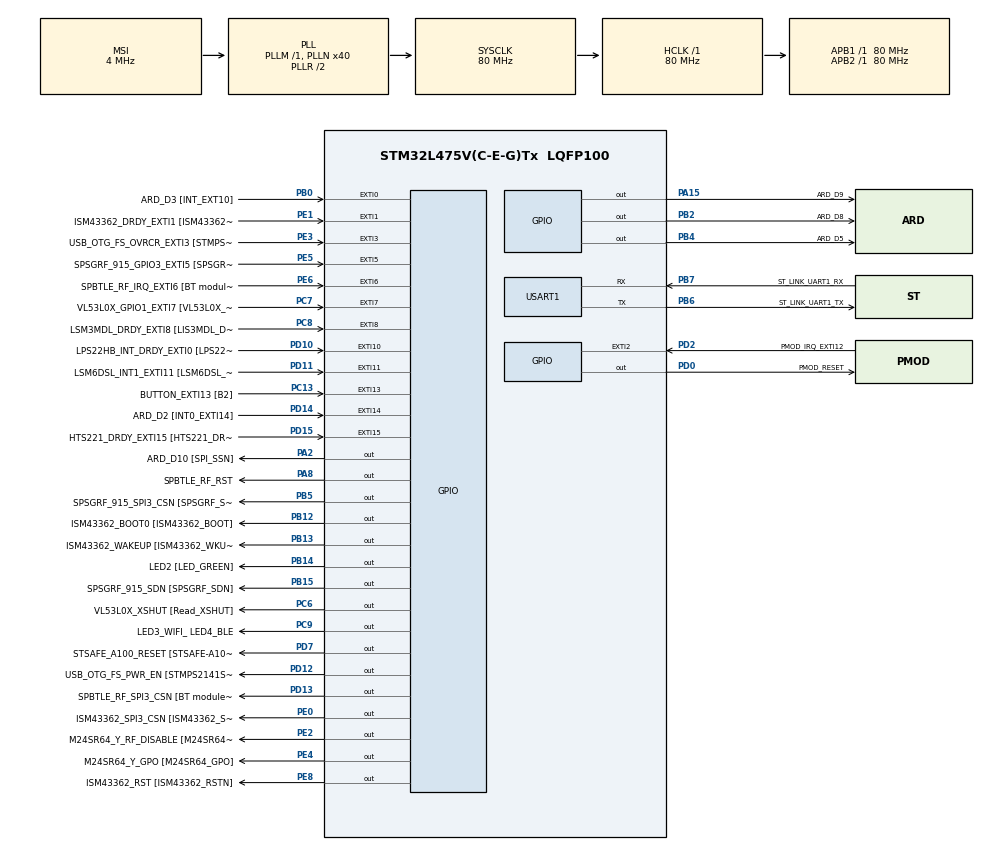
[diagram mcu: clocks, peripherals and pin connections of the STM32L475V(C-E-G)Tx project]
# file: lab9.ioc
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FREERTOS.Tasks01=Thread1,0,128,Thread1Func,Default,NULL,Dynamic,NULL,NULL;Thread2,1,128,Thread2Func,Default,NULL,Dynamic,NULL,NULL
Mcu.Family=STM32L4
Mcu.Name=STM32L475V(C-E-G)Tx
Mcu.Package=LQFP100
NVIC.EXTI15_10_IRQn=true\:5\:0\:false\:false\:true\:true\:true\:true
NVIC.EXTI9_5_IRQn=true\:5\:0\:false\:false\:true\:true\:true\:true
NVIC.PriorityGroup=NVIC_PRIORITYGROUP_4
PA0.GPIO_Label=ARD_D1 [UART4_TX]
PA0.Signal=UART4_TX
PA1.GPIO_Label=ARD_D0 [UART4_RX]
PA1.Signal=UART4_RX
PA10.GPIO_Label=USB_OTG_FS_ID
PA10.Signal=USB_OTG_FS_ID
PA11.GPIO_Label=USB_OTG_FS_DM
PA11.Signal=USB_OTG_FS_DM
PA12.GPIO_Label=USB_OTG_FS_DP
PA12.Signal=USB_OTG_FS_DP
PA13\ (JTMS-SWDIO).GPIO_Label=SYS_JTMS_SWDIO
PA13\ (JTMS-SWDIO).Mode=Serial_Wire
PA13\ (JTMS-SWDIO).Signal=SYS_JTMS-SWDIO
PA14\ (JTCK-SWCLK).GPIO_Label=SYS_JTCK_SWCLK
PA14\ (JTCK-SWCLK).Mode=Serial_Wire
PA14\ (JTCK-SWCLK).Signal=SYS_JTCK-SWCLK
PA15\ (JTDI).GPIO_Label=ARD_D9
PA15\ (JTDI).Signal=GPIO_Output
PA2.GPIO_Label=ARD_D10 [SPI_SSN]
PA2.Signal=GPIO_Output
PA3.GPIO_Label=ARD_D4
PA3.Signal=S_TIM2_CH4
PA4.GPIO_Label=ARD_D7
PA4.Signal=ADCx_IN9
PA5.GPIO_Label=ARD_D13 [SPI1_SCK]
PA5.Signal=SPI1_SCK
PA6.GPIO_Label=ARD_D12 [SPI1_MISO]
PA6.Signal=SPI1_MISO
PA7.GPIO_Label=ARD_D11 [SPI1_MOSI]
PA7.Signal=SPI1_MOSI
PA8.GPIO_Label=SPBTLE_RF_RST
PA8.Signal=GPIO_Output
PA9.GPIO_Label=USB_OTG_FS_VBUS [STMPS2141STR_OUT]
PA9.Signal=USB_OTG_FS_VBUS
PB0.GPIO_Label=ARD_D3 [INT_EXT10]
PB0.Signal=GPXTI0
PB1.GPIO_Label=ARD_D6 [ADC1_IN6]
PB1.Signal=ADCx_IN16
PB10.GPIO_Label=INTERNAL_I2C2_SCL [VL53L0X_SCL]
PB10.Signal=I2C2_SCL
PB11.GPIO_Label=INTERNAL_I2C2_SDA [VL53L0X_SDA]
PB11.Signal=I2C2_SDA
PB12.GPIO_Label=ISM43362_BOOT0 [ISM43362_BOOT]
PB12.Signal=GPIO_Output
PB13.GPIO_Label=ISM43362_WAKEUP [ISM43362_WKUP]
PB13.Signal=GPIO_Output
PB14.GPIO_Label=LED2 [LED_GREEN]
PB14.Signal=GPIO_Output
PB15.GPIO_Label=SPSGRF_915_SDN [SPSGRF_SDN]
PB15.Signal=GPIO_Output
PB2.GPIO_Label=ARD_D8
PB2.Signal=GPIO_Output
PB3\ (JTDO-TRACESWO).GPIO_Label=SYS_JTD0_SWO
PB3\ (JTDO-TRACESWO).Signal=SYS_JTDO-SWO
PB4\ (NJTRST).GPIO_Label=ARD_D5
PB4\ (NJTRST).Signal=GPIO_Output
PB5.GPIO_Label=SPSGRF_915_SPI3_CSN [SPSGRF_SPI_CS]
PB5.PinState=GPIO_PIN_SET
PB5.Signal=GPIO_Output
PB6.GPIO_Label=ST_LINK_UART1_TX
PB6.Mode=Asynchronous
PB6.Signal=USART1_TX
PB7.GPIO_Label=ST_LINK_UART1_RX
PB7.Mode=Asynchronous
PB7.Signal=USART1_RX
PB8.GPIO_Label=ARD_D15 [I2C1_SCL]
PB8.Signal=I2C1_SCL
PB9.GPIO_Label=ARD_D14 [I2C1_SDA]
PB9.Signal=I2C1_SDA
PC0.GPIO_Label=ARD_A5 [ADC]
PC0.Signal=ADCx_IN1
PC1.GPIO_Label=ARD_A4 [ADC]
PC1.Signal=ADCx_IN2
PC10.GPIO_Label=INTERNAL_SPI3_SCK [BT module_SPI_SCLK] [ISM43362_SCK]
PC10.Signal=SPI3_SCK
PC11.GPIO_Label=INTERNAL_SPI3_MISO [BT module_SPI_MISO] [ISM43362_MISO]
PC11.Signal=SPI3_MISO
PC12.GPIO_Label=INTERNAL_SPI3_MOSI [BT module_SPI_MOSI] [ISM43362_MOSI]
PC12.Signal=SPI3_MOSI
PC13.GPIO_Label=BUTTON_EXTI13 [B2]
PC13.GPIO_ModeDefaultEXTI=GPIO_MODE_IT_FALLING
PC13.Signal=GPXTI13
PC14-OSC32_IN\ (PC14).Signal=RCC_OSC32_IN
PC15-OSC32_OUT\ (PC15).Signal=RCC_OSC32_OUT
PC2.GPIO_Label=ARD_A3 [ADC]
PC2.Signal=ADCx_IN3
PC3.GPIO_Label=ARD_A2 [ADC]
PC3.Signal=ADCx_IN4
PC4.GPIO_Label=ARD_A1 [ADC]
PC4.Signal=ADCx_IN13
PC5.GPIO_Label=ARD_A0 [ADC]
PC5.Signal=ADCx_IN14
PC6.GPIO_Label=VL53L0X_XSHUT [Read_XSHUT]
PC6.Signal=GPIO_Output
PC7.GPIO_Label=VL53L0X_GPIO1_EXTI7 [VL53L0X_GPIO1]
PC7.Signal=GPXTI7
PC8.GPIO_Label=LSM3MDL_DRDY_EXTI8 [LIS3MDL_DRDY]
PC8.Signal=GPXTI8
PC9.GPIO_Label=LED3_WIFI_ LED4_BLE
PC9.Signal=GPIO_Output
PD0.GPIO_Label=PMOD_RESET
PD0.Signal=GPIO_Output
PD1.GPIO_Label=PMOD_SPI2_SCK
PD1.Signal=SPI2_SCK
PD10.GPIO_Label=LPS22HB_INT_DRDY_EXTI0 [LPS22HB_INT_DRDY] 
PD10.Signal=GPXTI10
PD11.GPIO_Label=LSM6DSL_INT1_EXTI11 [LSM6DSL_INT1]
PD11.Signal=GPXTI11
PD12.GPIO_Label=USB_OTG_FS_PWR_EN [STMPS2141STR_EN]
PD12.Signal=GPIO_Output
PD13.GPIO_Label=SPBTLE_RF_SPI3_CSN [BT module_SPI_CS]
PD13.PinState=GPIO_PIN_SET
PD13.Signal=GPIO_Output
PD14.GPIO_Label=ARD_D2 [INT0_EXTI14]
PD14.Signal=GPXTI14
PD15.GPIO_Label=HTS221_DRDY_EXTI15 [HTS221_DRDY]
PD15.Signal=GPXTI15
PD2.GPIO_Label=PMOD_IRQ_EXTI12
PD2.Signal=GPXTI2
PD3.GPIO_Label=PMOD_UART2_CTS
PD3.Signal=USART2_CTS
PD4.GPIO_Label=PMOD_UART2_RTS
PD4.Signal=USART2_RTS
PD5.GPIO_Label=PMOD_UART2_TX
PD5.Signal=USART2_TX
PD6.GPIO_Label=PMOD_UART2_RX
PD6.Signal=USART2_RX
PD7.GPIO_Label=STSAFE_A100_RESET [STSAFE-A100_RESET]
PD7.Signal=GPIO_Output
PD8.GPIO_Label=INTERNAL_UART3_TX [ISM43362_RX]
PD8.Signal=USART3_TX
PD9.GPIO_Label=INTERNAL_UART3_RX [ISM43362_TX]
PD9.Signal=USART3_RX
PE0.GPIO_Label=ISM43362_SPI3_CSN [ISM43362_SSN]
PE0.PinState=GPIO_PIN_SET
PE0.Signal=GPIO_Output
PE1.GPIO_Label=ISM43362_DRDY_EXTI1 [ISM43362_DATARDY]
PE1.Signal=GPXTI1
PE10.GPIO_Label=QUADSPI_CLK [MX25R6435F_SCLK]
PE10.Signal=QUADSPI_CLK
PE11.GPIO_Label=QUADSPI_NCS [MX25R6435F_SCLK]
PE11.Signal=QUADSPI_NCS
PE12.GPIO_Label=OQUADSPI_BK1_IO0 [MX25R6435F_IO0]
PE12.Signal=QUADSPI_BK1_IO0
PE13.GPIO_Label=QUADSPI_BK1_IO1 [MX25R6435F_IO1]
PE13.Signal=QUADSPI_BK1_IO1
PE14.GPIO_Label=QUAD_SPI_BK1_IO2 [MX25R6435F_IO2]
PE14.Signal=QUADSPI_BK1_IO2
PE15.GPIO_Label=QUAD_SPI_BK1_IO3 [MX25R6435F_IO3]
PE15.Signal=QUADSPI_BK1_IO3
PE2.GPIO_Label=M24SR64_Y_RF_DISABLE [M24SR64_RFDIS]
PE2.Signal=GPIO_Output
PE3.GPIO_Label=USB_OTG_FS_OVRCR_EXTI3 [STMPS2141STR_FAULT]
PE3.Signal=GPXTI3
PE4.GPIO_Label=M24SR64_Y_GPO [M24SR64_GPO]
PE4.Signal=GPIO_Output
PE5.GPIO_Label=SPSGRF_915_GPIO3_EXTI5 [SPSGRF_GPIO_3]
PE5.Signal=GPXTI5
PE6.GPIO_Label=SPBTLE_RF_IRQ_EXTI6 [BT module_SPI_IRQ]
PE6.Signal=GPXTI6
PE7.GPIO_Label=DFSDM1_DATIN2 [MP34DT01_DOUT]
PE7.Signal=S_DATAIN2DFSDM1
PE8.GPIO_Label=ISM43362_RST [ISM43362_RSTN]
PE8.Signal=GPIO_Output
PE9.GPIO_Label=DFSDM1_CKOUT [MP34DT01_CLK]
PE9.Signal=S_CKOUTDFSDM1
ProjectManager.HeapSize=0x200
ProjectManager.StackSize=0x400
ProjectManager.TargetToolchain=MDK-ARM V5.27
RCC.ADCFreq_Value=48000000
RCC.AHBFreq_Value=80000000
RCC.APB1Freq_Value=80000000
RCC.APB1TimFreq_Value=80000000
RCC.APB2Freq_Value=80000000
RCC.APB2TimFreq_Value=80000000
RCC.CortexFreq_Value=80000000
RCC.HCLKFreq_Value=80000000
RCC.HSE_VALUE=8000000
RCC.HSI_VALUE=16000000
RCC.LSE_VALUE=32768
RCC.MSI_VALUE=4000000
RCC.PLLN=40
RCC.PLLSAI1N=24
RCC.SYSCLKFreq_VALUE=80000000
RCC.SYSCLKSource=RCC_SYSCLKSOURCE_PLLCLK
RCC.USBFreq_Value=48000000
RCC.VCOOutputFreq_Value=160000000
SH.ADCx_IN1.0=ADC1_IN1
SH.ADCx_IN13.0=ADC1_IN13
SH.ADCx_IN14.0=ADC1_IN14
SH.ADCx_IN16.0=ADC1_IN16
SH.ADCx_IN2.0=ADC1_IN2
SH.ADCx_IN3.0=ADC1_IN3
SH.ADCx_IN4.0=ADC1_IN4
SH.ADCx_IN9.0=ADC1_IN9
SH.S_CKOUTDFSDM1.0=DFSDM1_CKOUT
SH.S_DATAIN2DFSDM1.0=DFSDM1_DATIN2
SH.S_TIM2_CH4.0=TIM2_CH4
USART1.VirtualMode-Asynchronous=VM_ASYNC
VP_FREERTOS_VS_CMSIS_V1.Mode=CMSIS_V1
board=B-L475E-IOT01A1

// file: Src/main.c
/* USER CODE BEGIN Header */
/**
  ******************************************************************************
  * @file           : main.c
  * @brief          : Main program body
  ******************************************************************************
  * @attention
  *
  * <h2><center>&copy; Copyright (c) 2020 STMicroelectronics.
  * All rights reserved.</center></h2>
  *
  * This software component is licensed by ST under Ultimate Liberty license
  * SLA0044, the "License"; You may not use this file except in compliance with
  * the License. You may obtain a copy of the License at:
  *                             www.st.com/SLA0044
  *
  ******************************************************************************
  */
/* USER CODE END Header */

#include "main.h"
#include "cmsis_os.h"

/* USER CODE BEGIN Includes */
#include "stdio.h"
/* USER CODE END Includes */

UART_HandleTypeDef huart1;

osThreadId Thread1Handle;
osThreadId Thread2Handle;

void SystemClock_Config(void);
static void MX_GPIO_Init(void);
static void MX_USART1_UART_Init(void);
void Thread1Func(void const * argument);
void Thread2Func(void const * argument);

/* USER CODE BEGIN PFP */
#ifdef __GNUC__
#define PUTCHAR_PROTOTYPE int __io_putchar(int ch)
#else
#define PUTCHAR_PROTOTYPE int fputc(int ch, FILE *f)
#endif /* __GNUC__ */
/* USER CODE END PFP */

/* USER CODE BEGIN 0 */
PUTCHAR_PROTOTYPE
{
  /* e.g. write a character to the USART1 and Loop until the end of transmission */
  HAL_UART_Transmit(&huart1, (uint8_t *)&ch, 1, 0xFFFF);

  return ch;
}
/* USER CODE END 0 */

int main(void)
{

  /* MCU Configuration--------------------------------------------------------*/

  /* Reset of all peripherals, Initializes the Flash interface and the Systick. */
  HAL_Init();

  /* Configure the system clock */
  SystemClock_Config();

  /* Initialize all configured peripherals */
  MX_GPIO_Init();
  MX_USART1_UART_Init();
  /* USER CODE BEGIN 2 */
	printf("\n\rFreeRTOS Lab 9\n\r");
  /* USER CODE END 2 */

  /* Create the thread(s) */
  /* definition and creation of Thread1 */
  osThreadDef(Thread1, Thread1Func, osPriorityNormal, 0, 128);
  Thread1Handle = osThreadCreate(osThread(Thread1), NULL);

  /* Start scheduler */
  osKernelStart();

  /* We should never get here as control is now taken by the scheduler */

  /* Infinite loop */
  while (1)
  {

  }
}

void SystemClock_Config(void)
{
  RCC_OscInitTypeDef RCC_OscInitStruct = {0};
  RCC_ClkInitTypeDef RCC_ClkInitStruct = {0};
  RCC_PeriphCLKInitTypeDef PeriphClkInit = {0};

  /** Initializes the CPU, AHB and APB busses clocks
  */
  RCC_OscInitStruct.OscillatorType = RCC_OSCILLATORTYPE_MSI;
  RCC_OscInitStruct.MSIState = RCC_MSI_ON;
  RCC_OscInitStruct.MSICalibrationValue = 0;
  RCC_OscInitStruct.MSIClockRange = RCC_MSIRANGE_6;
  RCC_OscInitStruct.PLL.PLLState = RCC_PLL_ON;
  RCC_OscInitStruct.PLL.PLLSource = RCC_PLLSOURCE_MSI;
  RCC_OscInitStruct.PLL.PLLM = 1;
  RCC_OscInitStruct.PLL.PLLN = 40;
  RCC_OscInitStruct.PLL.PLLP = RCC_PLLP_DIV7;
  RCC_OscInitStruct.PLL.PLLQ = RCC_PLLQ_DIV2;
  RCC_OscInitStruct.PLL.PLLR = RCC_PLLR_DIV2;
  if (HAL_RCC_OscConfig(&RCC_OscInitStruct) != HAL_OK)
  {
    Error_Handler();
  }
  /** Initializes the CPU, AHB and APB busses clocks
  */
  RCC_ClkInitStruct.ClockType = RCC_CLOCKTYPE_HCLK|RCC_CLOCKTYPE_SYSCLK
                              |RCC_CLOCKTYPE_PCLK1|RCC_CLOCKTYPE_PCLK2;
  RCC_ClkInitStruct.SYSCLKSource = RCC_SYSCLKSOURCE_PLLCLK;
  RCC_ClkInitStruct.AHBCLKDivider = RCC_SYSCLK_DIV1;
  RCC_ClkInitStruct.APB1CLKDivider = RCC_HCLK_DIV1;
  RCC_ClkInitStruct.APB2CLKDivider = RCC_HCLK_DIV1;

  if (HAL_RCC_ClockConfig(&RCC_ClkInitStruct, FLASH_LATENCY_4) != HAL_OK)
  {
    Error_Handler();
  }
  PeriphClkInit.PeriphClockSelection = RCC_PERIPHCLK_USART1;
  PeriphClkInit.Usart1ClockSelection = RCC_USART1CLKSOURCE_PCLK2;
  if (HAL_RCCEx_PeriphCLKConfig(&PeriphClkInit) != HAL_OK)
  {
    Error_Handler();
  }
  /** Configure the main internal regulator output voltage
  */
  if (HAL_PWREx_ControlVoltageScaling(PWR_REGULATOR_VOLTAGE_SCALE1) != HAL_OK)
  {
    Error_Handler();
  }
}

static void MX_USART1_UART_Init(void)
{

  huart1.Instance = USART1;
  huart1.Init.BaudRate = 115200;
  huart1.Init.WordLength = UART_WORDLENGTH_8B;
  huart1.Init.StopBits = UART_STOPBITS_1;
  huart1.Init.Parity = UART_PARITY_NONE;
  huart1.Init.Mode = UART_MODE_TX_RX;
  huart1.Init.HwFlowCtl = UART_HWCONTROL_NONE;
  huart1.Init.OverSampling = UART_OVERSAMPLING_16;
  huart1.Init.OneBitSampling = UART_ONE_BIT_SAMPLE_DISABLE;
  huart1.AdvancedInit.AdvFeatureInit = UART_ADVFEATURE_NO_INIT;
  if (HAL_UART_Init(&huart1) != HAL_OK)
  {
    Error_Handler();
  }

}

static void MX_GPIO_Init(void)
{
  GPIO_InitTypeDef GPIO_InitStruct = {0};

  /* GPIO Ports Clock Enable */
  __HAL_RCC_GPIOE_CLK_ENABLE();
  __HAL_RCC_GPIOC_CLK_ENABLE();
  __HAL_RCC_GPIOH_CLK_ENABLE();
  __HAL_RCC_GPIOA_CLK_ENABLE();
  __HAL_RCC_GPIOB_CLK_ENABLE();
  __HAL_RCC_GPIOD_CLK_ENABLE();

  /*Configure GPIO pin Output Level */
  HAL_GPIO_WritePin(GPIOE, M24SR64_Y_RF_DISABLE_Pin|M24SR64_Y_GPO_Pin|ISM43362_RST_Pin, GPIO_PIN_RESET);

  /*Configure GPIO pin Output Level */
  HAL_GPIO_WritePin(GPIOA, ARD_D10_Pin|SPBTLE_RF_RST_Pin|ARD_D9_Pin, GPIO_PIN_RESET);

  /*Configure GPIO pin Output Level */
  HAL_GPIO_WritePin(GPIOB, ARD_D8_Pin|ISM43362_BOOT0_Pin|ISM43362_WAKEUP_Pin|LED2_Pin
                          |SPSGRF_915_SDN_Pin|ARD_D5_Pin, GPIO_PIN_RESET);

  /*Configure GPIO pin Output Level */
  HAL_GPIO_WritePin(GPIOD, USB_OTG_FS_PWR_EN_Pin|PMOD_RESET_Pin|STSAFE_A100_RESET_Pin, GPIO_PIN_RESET);

  /*Configure GPIO pin Output Level */
  HAL_GPIO_WritePin(SPBTLE_RF_SPI3_CSN_GPIO_Port, SPBTLE_RF_SPI3_CSN_Pin, GPIO_PIN_SET);

  /*Configure GPIO pin Output Level */
  HAL_GPIO_WritePin(GPIOC, VL53L0X_XSHUT_Pin|LED3_WIFI__LED4_BLE_Pin, GPIO_PIN_RESET);

  /*Configure GPIO pin Output Level */
  HAL_GPIO_WritePin(SPSGRF_915_SPI3_CSN_GPIO_Port, SPSGRF_915_SPI3_CSN_Pin, GPIO_PIN_SET);

  /*Configure GPIO pin Output Level */
  HAL_GPIO_WritePin(ISM43362_SPI3_CSN_GPIO_Port, ISM43362_SPI3_CSN_Pin, GPIO_PIN_SET);

  /*Configure GPIO pins : M24SR64_Y_RF_DISABLE_Pin M24SR64_Y_GPO_Pin ISM43362_RST_Pin ISM43362_SPI3_CSN_Pin */
  GPIO_InitStruct.Pin = M24SR64_Y_RF_DISABLE_Pin|M24SR64_Y_GPO_Pin|ISM43362_RST_Pin|ISM43362_SPI3_CSN_Pin;
  GPIO_InitStruct.Mode = GPIO_MODE_OUTPUT_PP;
  GPIO_InitStruct.Pull = GPIO_NOPULL;
  GPIO_InitStruct.Speed = GPIO_SPEED_FREQ_LOW;
  HAL_GPIO_Init(GPIOE, &GPIO_InitStruct);

  /*Configure GPIO pins : USB_OTG_FS_OVRCR_EXTI3_Pin SPSGRF_915_GPIO3_EXTI5_Pin SPBTLE_RF_IRQ_EXTI6_Pin ISM43362_DRDY_EXTI1_Pin */
  GPIO_InitStruct.Pin = USB_OTG_FS_OVRCR_EXTI3_Pin|SPSGRF_915_GPIO3_EXTI5_Pin|SPBTLE_RF_IRQ_EXTI6_Pin|ISM43362_DRDY_EXTI1_Pin;
  GPIO_InitStruct.Mode = GPIO_MODE_IT_RISING;
  GPIO_InitStruct.Pull = GPIO_NOPULL;
  HAL_GPIO_Init(GPIOE, &GPIO_InitStruct);

  /*Configure GPIO pin : BUTTON_EXTI13_Pin */
  GPIO_InitStruct.Pin = BUTTON_EXTI13_Pin;
  GPIO_InitStruct.Mode = GPIO_MODE_IT_FALLING;
  GPIO_InitStruct.Pull = GPIO_NOPULL;
  HAL_GPIO_Init(BUTTON_EXTI13_GPIO_Port, &GPIO_InitStruct);

  /*Configure GPIO pins : PH0 PH1 */
  GPIO_InitStruct.Pin = GPIO_PIN_0|GPIO_PIN_1;
  GPIO_InitStruct.Mode = GPIO_MODE_ANALOG;
  GPIO_InitStruct.Pull = GPIO_NOPULL;
  HAL_GPIO_Init(GPIOH, &GPIO_InitStruct);

  /*Configure GPIO pins : ARD_A5_Pin ARD_A4_Pin ARD_A3_Pin ARD_A2_Pin
                           ARD_A1_Pin ARD_A0_Pin */
  GPIO_InitStruct.Pin = ARD_A5_Pin|ARD_A4_Pin|ARD_A3_Pin|ARD_A2_Pin
                          |ARD_A1_Pin|ARD_A0_Pin;
  GPIO_InitStruct.Mode = GPIO_MODE_ANALOG_ADC_CONTROL;
  GPIO_InitStruct.Pull = GPIO_NOPULL;
  HAL_GPIO_Init(GPIOC, &GPIO_InitStruct);

  /*Configure GPIO pins : ARD_D1_Pin ARD_D0_Pin */
  GPIO_InitStruct.Pin = ARD_D1_Pin|ARD_D0_Pin;
  GPIO_InitStruct.Mode = GPIO_MODE_AF_PP;
  GPIO_InitStruct.Pull = GPIO_NOPULL;
  GPIO_InitStruct.Speed = GPIO_SPEED_FREQ_VERY_HIGH;
  GPIO_InitStruct.Alternate = GPIO_AF8_UART4;
  HAL_GPIO_Init(GPIOA, &GPIO_InitStruct);

  /*Configure GPIO pins : ARD_D10_Pin SPBTLE_RF_RST_Pin ARD_D9_Pin */
  GPIO_InitStruct.Pin = ARD_D10_Pin|SPBTLE_RF_RST_Pin|ARD_D9_Pin;
  GPIO_InitStruct.Mode = GPIO_MODE_OUTPUT_PP;
  GPIO_InitStruct.Pull = GPIO_NOPULL;
  GPIO_InitStruct.Speed = GPIO_SPEED_FREQ_LOW;
  HAL_GPIO_Init(GPIOA, &GPIO_InitStruct);

  /*Configure GPIO pin : ARD_D4_Pin */
  GPIO_InitStruct.Pin = ARD_D4_Pin;
  GPIO_InitStruct.Mode = GPIO_MODE_AF_PP;
  GPIO_InitStruct.Pull = GPIO_NOPULL;
  GPIO_InitStruct.Speed = GPIO_SPEED_FREQ_LOW;
  GPIO_InitStruct.Alternate = GPIO_AF1_TIM2;
  HAL_GPIO_Init(ARD_D4_GPIO_Port, &GPIO_InitStruct);

  /*Configure GPIO pin : ARD_D7_Pin */
  GPIO_InitStruct.Pin = ARD_D7_Pin;
  GPIO_InitStruct.Mode = GPIO_MODE_ANALOG_ADC_CONTROL;
  GPIO_InitStruct.Pull = GPIO_NOPULL;
  HAL_GPIO_Init(ARD_D7_GPIO_Port, &GPIO_InitStruct);

  /*Configure GPIO pins : ARD_D13_Pin ARD_D12_Pin ARD_D11_Pin */
  GPIO_InitStruct.Pin = ARD_D13_Pin|ARD_D12_Pin|ARD_D11_Pin;
  GPIO_InitStruct.Mode = GPIO_MODE_AF_PP;
  GPIO_InitStruct.Pull = GPIO_NOPULL;
  GPIO_InitStruct.Speed = GPIO_SPEED_FREQ_VERY_HIGH;
  GPIO_InitStruct.Alternate = GPIO_AF5_SPI1;
  HAL_GPIO_Init(GPIOA, &GPIO_InitStruct);

  /*Configure GPIO pin : ARD_D3_Pin */
  GPIO_InitStruct.Pin = ARD_D3_Pin;
  GPIO_InitStruct.Mode = GPIO_MODE_IT_RISING;
  GPIO_InitStruct.Pull = GPIO_NOPULL;
  HAL_GPIO_Init(ARD_D3_GPIO_Port, &GPIO_InitStruct);

  /*Configure GPIO pin : ARD_D6_Pin */
  GPIO_InitStruct.Pin = ARD_D6_Pin;
  GPIO_InitStruct.Mode = GPIO_MODE_ANALOG_ADC_CONTROL;
  GPIO_InitStruct.Pull = GPIO_NOPULL;
  HAL_GPIO_Init(ARD_D6_GPIO_Port, &GPIO_InitStruct);

  /*Configure GPIO pins : ARD_D8_Pin ISM43362_BOOT0_Pin ISM43362_WAKEUP_Pin LED2_Pin
                           SPSGRF_915_SDN_Pin ARD_D5_Pin SPSGRF_915_SPI3_CSN_Pin */
  GPIO_InitStruct.Pin = ARD_D8_Pin|ISM43362_BOOT0_Pin|ISM43362_WAKEUP_Pin|LED2_Pin
                          |SPSGRF_915_SDN_Pin|ARD_D5_Pin|SPSGRF_915_SPI3_CSN_Pin;
  GPIO_InitStruct.Mode = GPIO_MODE_OUTPUT_PP;
  GPIO_InitStruct.Pull = GPIO_NOPULL;
  GPIO_InitStruct.Speed = GPIO_SPEED_FREQ_LOW;
  HAL_GPIO_Init(GPIOB, &GPIO_InitStruct);

  /*Configure GPIO pins : DFSDM1_DATIN2_Pin DFSDM1_CKOUT_Pin */
  GPIO_InitStruct.Pin = DFSDM1_DATIN2_Pin|DFSDM1_CKOUT_Pin;
  GPIO_InitStruct.Mode = GPIO_MODE_AF_PP;
  GPIO_InitStruct.Pull = GPIO_NOPULL;
  GPIO_InitStruct.Speed = GPIO_SPEED_FREQ_LOW;
  GPIO_InitStruct.Alternate = GPIO_AF6_DFSDM1;
  HAL_GPIO_Init(GPIOE, &GPIO_InitStruct);

  /*Configure GPIO pins : QUADSPI_CLK_Pin QUADSPI_NCS_Pin OQUADSPI_BK1_IO0_Pin QUADSPI_BK1_IO1_Pin
                           QUAD_SPI_BK1_IO2_Pin QUAD_SPI_BK1_IO3_Pin */
  GPIO_InitStruct.Pin = QUADSPI_CLK_Pin|QUADSPI_NCS_Pin|OQUADSPI_BK1_IO0_Pin|QUADSPI_BK1_IO1_Pin
                          |QUAD_SPI_BK1_IO2_Pin|QUAD_SPI_BK1_IO3_Pin;
  GPIO_InitStruct.Mode = GPIO_MODE_AF_PP;
  GPIO_InitStruct.Pull = GPIO_NOPULL;
  GPIO_InitStruct.Speed = GPIO_SPEED_FREQ_VERY_HIGH;
  GPIO_InitStruct.Alternate = GPIO_AF10_QUADSPI;
  HAL_GPIO_Init(GPIOE, &GPIO_InitStruct);

  /*Configure GPIO pins : INTERNAL_I2C2_SCL_Pin INTERNAL_I2C2_SDA_Pin */
  GPIO_InitStruct.Pin = INTERNAL_I2C2_SCL_Pin|INTERNAL_I2C2_SDA_Pin;
  GPIO_InitStruct.Mode = GPIO_MODE_AF_OD;
  GPIO_InitStruct.Pull = GPIO_PULLUP;
  GPIO_InitStruct.Speed = GPIO_SPEED_FREQ_VERY_HIGH;
  GPIO_InitStruct.Alternate = GPIO_AF4_I2C2;
  HAL_GPIO_Init(GPIOB, &GPIO_InitStruct);

  /*Configure GPIO pins : INTERNAL_UART3_TX_Pin INTERNAL_UART3_RX_Pin */
  GPIO_InitStruct.Pin = INTERNAL_UART3_TX_Pin|INTERNAL_UART3_RX_Pin;
  GPIO_InitStruct.Mode = GPIO_MODE_AF_PP;
  GPIO_InitStruct.Pull = GPIO_NOPULL;
  GPIO_InitStruct.Speed = GPIO_SPEED_FREQ_VERY_HIGH;
  GPIO_InitStruct.Alternate = GPIO_AF7_USART3;
  HAL_GPIO_Init(GPIOD, &GPIO_InitStruct);

  /*Configure GPIO pins : LPS22HB_INT_DRDY_EXTI0_Pin LSM6DSL_INT1_EXTI11_Pin ARD_D2_Pin HTS221_DRDY_EXTI15_Pin
                           PMOD_IRQ_EXTI12_Pin */
  GPIO_InitStruct.Pin = LPS22HB_INT_DRDY_EXTI0_Pin|LSM6DSL_INT1_EXTI11_Pin|ARD_D2_Pin|HTS221_DRDY_EXTI15_Pin
                          |PMOD_IRQ_EXTI12_Pin;
  GPIO_InitStruct.Mode = GPIO_MODE_IT_RISING;
  GPIO_InitStruct.Pull = GPIO_NOPULL;
  HAL_GPIO_Init(GPIOD, &GPIO_InitStruct);

  /*Configure GPIO pins : USB_OTG_FS_PWR_EN_Pin SPBTLE_RF_SPI3_CSN_Pin PMOD_RESET_Pin STSAFE_A100_RESET_Pin */
  GPIO_InitStruct.Pin = USB_OTG_FS_PWR_EN_Pin|SPBTLE_RF_SPI3_CSN_Pin|PMOD_RESET_Pin|STSAFE_A100_RESET_Pin;
  GPIO_InitStruct.Mode = GPIO_MODE_OUTPUT_PP;
  GPIO_InitStruct.Pull = GPIO_NOPULL;
  GPIO_InitStruct.Speed = GPIO_SPEED_FREQ_LOW;
  HAL_GPIO_Init(GPIOD, &GPIO_InitStruct);

  /*Configure GPIO pins : VL53L0X_XSHUT_Pin LED3_WIFI__LED4_BLE_Pin */
  GPIO_InitStruct.Pin = VL53L0X_XSHUT_Pin|LED3_WIFI__LED4_BLE_Pin;
  GPIO_InitStruct.Mode = GPIO_MODE_OUTPUT_PP;
  GPIO_InitStruct.Pull = GPIO_NOPULL;
  GPIO_InitStruct.Speed = GPIO_SPEED_FREQ_LOW;
  HAL_GPIO_Init(GPIOC, &GPIO_InitStruct);

  /*Configure GPIO pins : VL53L0X_GPIO1_EXTI7_Pin LSM3MDL_DRDY_EXTI8_Pin */
  GPIO_InitStruct.Pin = VL53L0X_GPIO1_EXTI7_Pin|LSM3MDL_DRDY_EXTI8_Pin;
  GPIO_InitStruct.Mode = GPIO_MODE_IT_RISING;
  GPIO_InitStruct.Pull = GPIO_NOPULL;
  HAL_GPIO_Init(GPIOC, &GPIO_InitStruct);

  /*Configure GPIO pin : USB_OTG_FS_VBUS_Pin */
  GPIO_InitStruct.Pin = USB_OTG_FS_VBUS_Pin;
  GPIO_InitStruct.Mode = GPIO_MODE_INPUT;
  GPIO_InitStruct.Pull = GPIO_NOPULL;
  HAL_GPIO_Init(USB_OTG_FS_VBUS_GPIO_Port, &GPIO_InitStruct);

  /*Configure GPIO pins : USB_OTG_FS_ID_Pin USB_OTG_FS_DM_Pin USB_OTG_FS_DP_Pin */
  GPIO_InitStruct.Pin = USB_OTG_FS_ID_Pin|USB_OTG_FS_DM_Pin|USB_OTG_FS_DP_Pin;
  GPIO_InitStruct.Mode = GPIO_MODE_AF_PP;
  GPIO_InitStruct.Pull = GPIO_NOPULL;
  GPIO_InitStruct.Speed = GPIO_SPEED_FREQ_VERY_HIGH;
  GPIO_InitStruct.Alternate = GPIO_AF10_OTG_FS;
  HAL_GPIO_Init(GPIOA, &GPIO_InitStruct);

  /*Configure GPIO pins : INTERNAL_SPI3_SCK_Pin INTERNAL_SPI3_MISO_Pin INTERNAL_SPI3_MOSI_Pin */
  GPIO_InitStruct.Pin = INTERNAL_SPI3_SCK_Pin|INTERNAL_SPI3_MISO_Pin|INTERNAL_SPI3_MOSI_Pin;
  GPIO_InitStruct.Mode = GPIO_MODE_AF_PP;
  GPIO_InitStruct.Pull = GPIO_NOPULL;
  GPIO_InitStruct.Speed = GPIO_SPEED_FREQ_VERY_HIGH;
  GPIO_InitStruct.Alternate = GPIO_AF6_SPI3;
  HAL_GPIO_Init(GPIOC, &GPIO_InitStruct);

  /*Configure GPIO pin : PMOD_SPI2_SCK_Pin */
  GPIO_InitStruct.Pin = PMOD_SPI2_SCK_Pin;
  GPIO_InitStruct.Mode = GPIO_MODE_AF_PP;
  GPIO_InitStruct.Pull = GPIO_NOPULL;
  GPIO_InitStruct.Speed = GPIO_SPEED_FREQ_VERY_HIGH;
  GPIO_InitStruct.Alternate = GPIO_AF5_SPI2;
  HAL_GPIO_Init(PMOD_SPI2_SCK_GPIO_Port, &GPIO_InitStruct);

  /*Configure GPIO pins : PMOD_UART2_CTS_Pin PMOD_UART2_RTS_Pin PMOD_UART2_TX_Pin PMOD_UART2_RX_Pin */
  GPIO_InitStruct.Pin = PMOD_UART2_CTS_Pin|PMOD_UART2_RTS_Pin|PMOD_UART2_TX_Pin|PMOD_UART2_RX_Pin;
  GPIO_InitStruct.Mode = GPIO_MODE_AF_PP;
  GPIO_InitStruct.Pull = GPIO_NOPULL;
  GPIO_InitStruct.Speed = GPIO_SPEED_FREQ_VERY_HIGH;
  GPIO_InitStruct.Alternate = GPIO_AF7_USART2;
  HAL_GPIO_Init(GPIOD, &GPIO_InitStruct);

  /*Configure GPIO pins : ARD_D15_Pin ARD_D14_Pin */
  GPIO_InitStruct.Pin = ARD_D15_Pin|ARD_D14_Pin;
  GPIO_InitStruct.Mode = GPIO_MODE_AF_OD;
  GPIO_InitStruct.Pull = GPIO_PULLUP;
  GPIO_InitStruct.Speed = GPIO_SPEED_FREQ_VERY_HIGH;
  GPIO_InitStruct.Alternate = GPIO_AF4_I2C1;
  HAL_GPIO_Init(GPIOB, &GPIO_InitStruct);

  /* EXTI interrupt init*/
  HAL_NVIC_SetPriority(EXTI9_5_IRQn, 5, 0);
  HAL_NVIC_EnableIRQ(EXTI9_5_IRQn);

  HAL_NVIC_SetPriority(EXTI15_10_IRQn, 5, 0);
  HAL_NVIC_EnableIRQ(EXTI15_10_IRQn);

}

void Thread1Func(void const * argument)
{
  /* USER CODE BEGIN 5 */
  /* Infinite loop */
  for(;;)
  {
		printf("\n\rThread1 is running and creating thread2\n\r");

		/* definition and creation of Thread2 */
		osThreadDef(Thread2, Thread2Func, osPriorityAboveNormal, 0, 128);
		Thread2Handle = osThreadCreate(osThread(Thread2), NULL);

		osDelay(1000);
  }
  /* USER CODE END 5 */
}

void Thread2Func(void const * argument)
{
  /* USER CODE BEGIN Thread2Func */
  /* Infinite loop */
	printf("\n\rThread2 is about to delete itself\n\r");

	osThreadTerminate(Thread2Handle);

  /* USER CODE END Thread2Func */
}

void Error_Handler(void)
{
}

/************************ (C) COPYRIGHT STMicroelectronics *****END OF FILE****/
